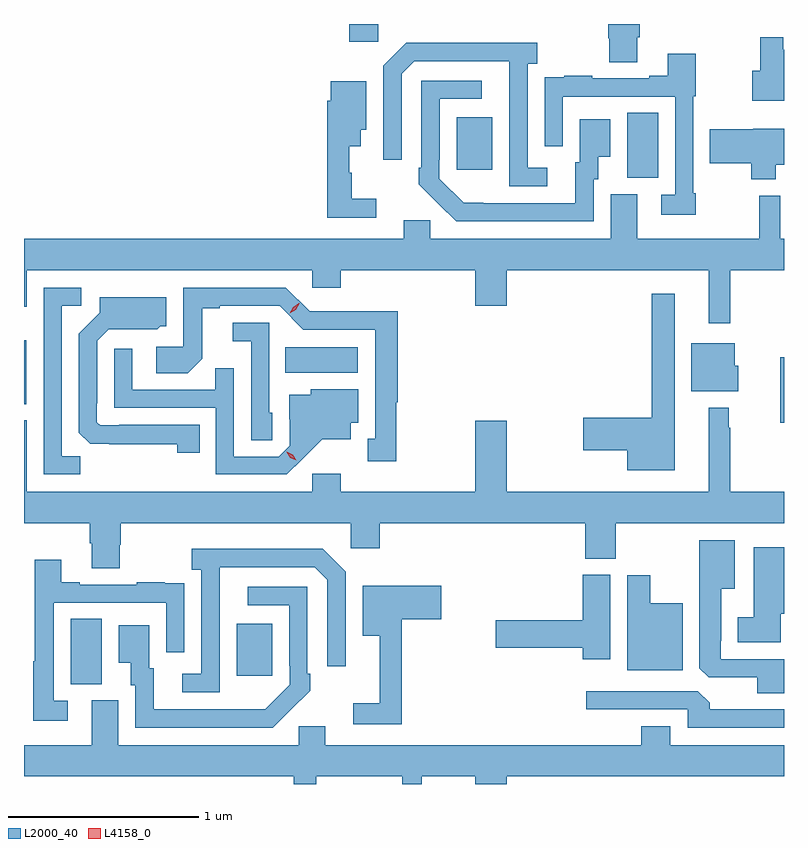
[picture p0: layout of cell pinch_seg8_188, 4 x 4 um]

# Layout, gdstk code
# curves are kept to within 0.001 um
import gdstk
lib = gdstk.Library(unit=1e-6, precision=1e-09)
def R(c, l, rs):  # rectangles x0, y0, x1, y1
    for r in rs: c.add(gdstk.rectangle(r[:2], r[2:], *l))
def P(c, l, *ps):  # polygons
    for p in ps: c.add(gdstk.Polygon(p, *l))
L2000_40 = (2000, 40)
L4158_0 = (4158, 0)

pinch_seg8_188 = lib.new_cell('pinch_seg8_188')
R(pinch_seg8_188, L2000_40, [(690.35,1160.941,690.514,1161.284), (691.223,1160.985,691.411,1161.259), (694.085,1162.316,694.104,1162.66), (690.104,1162.415,690.115,1162.75), (691.48,1162.58,691.861,1162.714), (693.278,1163.605,693.442,1163.948), (692.381,1163.649,692.569,1163.923), (691.817,1164.321,691.968,1164.415)])
P(pinch_seg8_188, L2000_40, [(693.331,1164.346),(693.344,1164.346),(693.344,1164.415),(693.179,1164.415),(693.179,1164.339),(693.184,1164.339),(693.184,1164.214),(693.331,1164.214)],
  [(694.104,1164.28),(694.099,1164.28),(694.099,1164.346),(693.978,1164.346),(693.978,1164.169),(693.936,1164.169),(693.936,1164.011),(694.104,1164.011)],
  [(692.857,1163.658),(692.754,1163.658),(692.754,1164.206),(692.806,1164.206),(692.806,1164.316),(692.116,1164.316),(691.995,1164.195),(691.995,1163.7),(692.091,1163.7),(692.091,1164.153),(692.157,1164.219),(692.657,1164.219),(692.658,1163.562),(692.857,1163.562)],
  [(693.64,1163.524),(693.627,1163.524),(693.627,1164.036),(693.64,1164.036),(693.64,1164.259),(693.491,1164.259),(693.491,1164.142),(693.395,1164.142),(693.395,1164.129),(693.095,1164.129),(693.095,1164.142),(692.947,1164.142),(692.947,1164.135),(692.845,1164.135),(692.845,1164.026),(692.844,1164.026),(692.844,1163.772),(692.94,1163.772),(692.94,1164.033),(693.531,1164.033),(693.531,1163.517),(693.459,1163.517),(693.459,1163.412),(693.64,1163.412)],
  [(693.102,1163.598),(693.127,1163.598),(693.127,1163.717),(693.19,1163.717),(693.19,1163.914),(693.029,1163.914),(693.029,1163.688),(693.005,1163.688),(693.005,1163.472),(692.418,1163.473),(692.289,1163.601),(692.289,1163.701),(692.292,1163.701),(692.292,1164.021),(692.512,1164.021),(692.512,1164.117),(692.196,1164.117),(692.196,1163.659),(692.181,1163.659),(692.181,1163.571),(692.378,1163.376),(693.102,1163.376)],
  [(691.957,1163.495),(691.828,1163.495),(691.828,1163.631),(691.817,1163.631),(691.817,1163.771),(691.876,1163.771),(691.876,1163.858),(691.906,1163.858),(691.906,1164.115),(691.718,1164.115),(691.718,1164.011),(691.699,1164.011),(691.699,1163.394),(691.957,1163.394)],
  [(694.06,1163.675),(694.104,1163.675),(694.104,1163.863),(693.942,1163.863),(693.942,1163.861),(693.714,1163.861),(693.714,1163.683),(693.931,1163.683),(693.931,1163.597),(694.06,1163.597)],
  [(692.48,1162.932),(692.644,1162.932),(692.644,1163.12),(693.707,1163.12),(693.707,1162.839),(693.821,1162.839),(693.821,1163.12),(694.104,1163.12),(694.104,1163.284),(694.085,1163.284),(694.085,1163.512),(693.975,1163.512),(693.975,1163.284),(693.331,1163.284),(693.331,1163.52),(693.191,1163.52),(693.191,1163.284),(692.241,1163.284),(692.241,1163.382),(692.102,1163.382),(692.102,1163.284),(690.104,1163.284),(690.104,1162.928),(690.118,1162.928),(690.118,1163.12),(691.62,1163.12),(691.62,1163.027),(691.772,1163.027),(691.772,1163.12),(692.48,1163.12)],
  [(690.399,1162.139),(690.303,1162.139),(690.303,1162.932),(690.406,1162.932),(690.406,1163.028),(690.207,1163.028),(690.207,1162.044),(690.399,1162.044)],
  [(692.063,1162.425),(692.071,1162.425),(692.071,1162.904),(691.83,1162.904),(691.83,1162.902),(691.608,1162.902),(691.482,1163.028),(690.942,1163.028),(690.942,1162.716),(690.801,1162.716),(690.801,1162.576),(690.965,1162.576),(691.041,1162.652),(691.041,1162.92),(691.135,1162.92),(691.135,1162.932),(691.449,1162.932),(691.575,1162.806),(691.952,1162.806),(691.952,1162.233),(691.913,1162.233),(691.913,1162.113),(692.063,1162.113)],
  [(693.529,1162.996),(693.408,1162.996),(693.408,1162.343),(693.048,1162.343),(693.048,1162.172),(693.278,1162.172),(693.278,1162.067),(693.529,1162.067)],
  [(691.028,1162.305),(690.604,1162.305),(690.604,1162.302),(690.504,1162.302),(690.486,1162.32),(690.486,1162.42),(690.489,1162.42),(690.489,1162.749),(690.549,1162.809),(690.806,1162.808),(690.822,1162.824),(690.853,1162.824),(690.853,1162.978),(690.503,1162.978),(690.503,1162.896),(690.393,1162.786),(690.393,1162.264),(690.452,1162.205),(690.91,1162.204),(690.91,1162.158),(691.028,1162.158)],
  [(691.41,1162.368),(691.395,1162.368),(691.395,1162.842),(691.203,1162.842),(691.203,1162.745),(691.299,1162.745),(691.299,1162.225),(691.41,1162.225)],
  [(693.862,1162.617),(693.844,1162.617),(693.844,1162.735),(693.617,1162.735),(693.617,1162.481),(693.862,1162.481)],
  [(691.57,1162.127),(691.673,1162.229),(691.825,1162.229),(691.825,1162.316),(691.864,1162.316),(691.864,1162.492),(691.614,1162.492),(691.614,1162.465),(691.499,1162.465),(691.499,1162.336),(691.503,1162.336),(691.503,1162.194),(691.446,1162.137),(691.209,1162.137),(691.209,1162.604),(691.111,1162.604),(691.111,1162.491),(690.675,1162.491),(690.675,1162.705),(690.579,1162.705),(690.579,1162.395),(691.113,1162.395),(691.113,1162.044),(691.486,1162.044)],
  [(694.104,1161.952),(693.821,1161.952),(693.821,1162.289),(693.814,1162.289),(693.814,1162.396),(693.707,1162.396),(693.707,1161.952),(692.644,1161.952),(692.644,1162.327),(692.48,1162.327),(692.48,1161.952),(691.772,1161.952),(691.772,1162.048),(691.62,1162.048),(691.62,1161.952),(690.118,1161.952),(690.118,1162.33),(690.104,1162.33),(690.104,1161.788),(690.449,1161.788),(690.449,1161.682),(690.461,1161.682),(690.461,1161.55),(690.609,1161.55),(690.609,1161.675),(690.614,1161.675),(690.614,1161.788),(691.824,1161.788),(691.824,1161.657),(691.976,1161.657),(691.976,1161.788),(693.059,1161.788),(693.059,1161.601),(693.219,1161.601),(693.219,1161.788),(694.104,1161.788)],
  [(694.104,1161.072),(693.771,1161.072),(693.771,1161.169),(693.775,1161.169),(693.775,1161.443),(693.844,1161.443),(693.844,1161.697),(693.659,1161.697),(693.659,1161.025),(693.708,1160.976),(693.962,1160.976),(693.962,1160.893),(694.104,1160.893)],
  [(694.087,1161.312),(694.104,1161.312),(694.104,1161.661),(693.944,1161.661),(693.944,1161.292),(693.86,1161.292),(693.86,1161.161),(694.087,1161.161)],
  [(691.134,1161.355),(691.135,1161.555),(691.635,1161.555),(691.701,1161.489),(691.701,1161.036),(691.797,1161.036),(691.797,1161.531),(691.676,1161.652),(690.987,1161.652),(690.987,1161.542),(691.038,1161.542),(691.038,1160.994),(690.936,1160.994),(690.936,1160.898),(691.134,1160.898)],
  [(690.334,1160.853),(690.261,1160.853),(690.261,1161.369),(690.852,1161.369),(690.852,1161.108),(690.948,1161.108),(690.948,1161.362),(690.947,1161.362),(690.947,1161.471),(690.845,1161.471),(690.845,1161.478),(690.697,1161.478),(690.697,1161.465),(690.397,1161.465),(690.397,1161.478),(690.301,1161.478),(690.301,1161.595),(690.16,1161.595),(690.16,1161.06),(690.153,1161.06),(690.153,1160.748),(690.334,1160.748)],
  [(693.19,1161.516),(693.044,1161.516),(693.044,1161.278),(692.586,1161.278),(692.586,1161.131),(693.044,1161.131),(693.044,1161.072),(693.19,1161.072)],
  [(693.571,1161.367),(693.4,1161.367),(693.4,1161.514),(693.278,1161.514),(693.278,1161.014),(693.571,1161.014)],
  [(692.093,1161.281),(692.299,1161.281),(692.299,1161.459),(691.886,1161.459),(691.886,1161.194),(691.976,1161.194),(691.976,1160.839),(691.836,1160.839),(691.836,1160.73),(692.093,1160.73)],
  [(691.505,1160.803),(691.506,1160.802),(691.611,1160.907),(691.611,1160.995),(691.596,1160.995),(691.596,1161.453),(691.281,1161.453),(691.281,1161.357),(691.5,1161.357),(691.5,1161.037),(691.503,1161.037),(691.503,1160.937),(691.375,1160.809),(690.787,1160.808),(690.787,1161.024),(690.763,1161.024),(690.763,1161.25),(690.602,1161.25),(690.602,1161.053),(690.665,1161.053),(690.665,1160.934),(690.69,1160.934),(690.69,1160.712),(691.414,1160.712)],
  [(694.104,1160.808),(693.713,1160.808),(693.713,1160.842),(693.651,1160.904),(693.063,1160.904),(693.063,1160.808),(693.597,1160.808),(693.597,1160.712),(694.104,1160.712)],
  [(691.643,1160.456),(692.096,1160.456),(692.096,1160.415),(692.198,1160.415),(692.198,1160.456),(692.48,1160.456),(692.48,1160.415),(692.644,1160.415),(692.644,1160.456),(694.104,1160.456),(694.104,1160.62),(693.505,1160.62),(693.505,1160.719),(693.353,1160.719),(693.353,1160.62),(691.69,1160.62),(691.69,1160.718),(691.551,1160.718),(691.551,1160.62),(690.601,1160.62),(690.601,1160.856),(690.461,1160.856),(690.461,1160.62),(690.104,1160.62),(690.104,1160.456),(691.525,1160.456),(691.525,1160.415),(691.643,1160.415)])
P(pinch_seg8_188, L4158_0, [(691.502,1162.892),(691.502,1162.893),(691.52,1162.925),(691.551,1162.944),(691.552,1162.944),(691.552,1162.943),(691.534,1162.911),(691.502,1162.892)],
  [(691.537,1162.118),(691.505,1162.133),(691.487,1162.162),(691.487,1162.163),(691.488,1162.163),(691.519,1162.148),(691.537,1162.118),(691.537,1162.118)])

lib.write_gds('pinch_seg8_188.gds')
